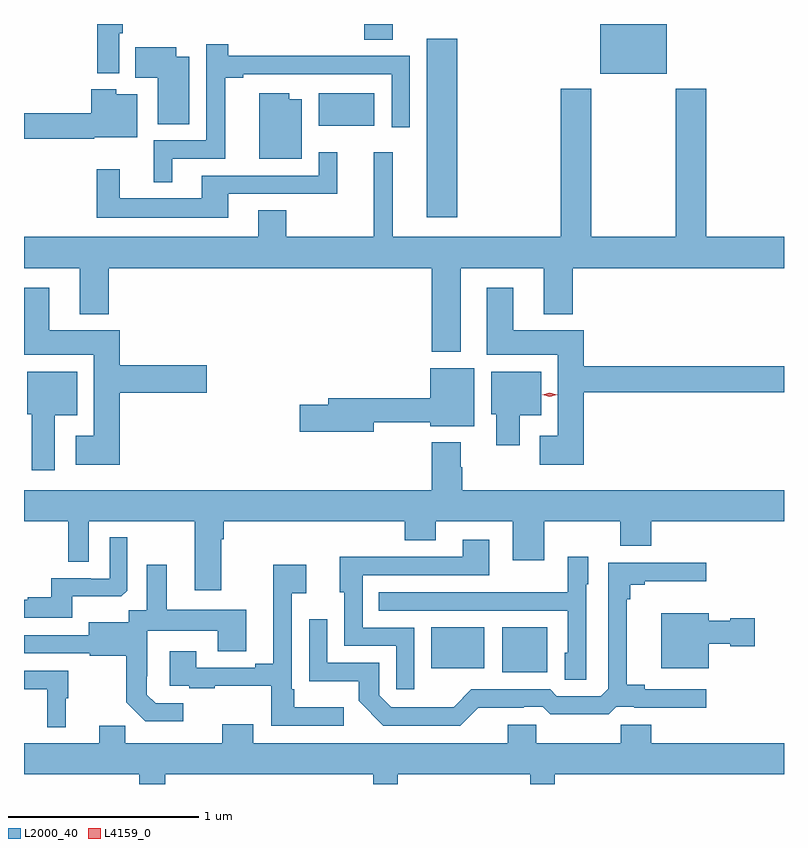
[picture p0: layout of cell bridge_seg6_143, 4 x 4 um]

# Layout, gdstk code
import gdstk
lib = gdstk.Library(unit=1e-6, precision=1e-09)
def R(c, l, rs):  # rectangles x0, y0, x1, y1
    for r in rs: c.add(gdstk.rectangle(r[:2], r[2:], *l))
def P(c, l, *ps):  # polygons
    for p in ps: c.add(gdstk.Polygon(p, *l))
L2000_40 = (2000, 40)
L4159_0 = (4159, 0)

bridge_seg6_143 = lib.new_cell('bridge_seg6_143')
R(bridge_seg6_143, L2000_40, [(530.258,989.165,530.497,989.401), (529.886,989.186,530.164,989.401), (529.862,991.56,530.021,992.5), (529.292,992.042,529.585,992.212), (530.774,992.315,531.124,992.577), (529.532,992.494,529.684,992.577)])
P(bridge_seg6_143, L2000_40, [(528.243,992.528),(528.263,992.528),(528.263,992.577),(528.127,992.577),(528.127,992.318),(528.243,992.318)],
  [(528.523,991.869),(528.8,991.869),(528.8,992.293),(528.895,992.293),(528.895,992.313),(529.677,992.313),(529.677,992.034),(529.773,992.034),(529.773,992.409),(529.448,992.409),(529.448,992.411),(528.818,992.411),(528.818,992.47),(528.702,992.47),(528.702,991.965),(528.425,991.965),(528.425,991.745),(528.523,991.745)],
  [(528.613,992.404),(528.544,992.404),(528.544,992.455),(528.328,992.455),(528.328,992.294),(528.446,992.294),(528.446,992.05),(528.613,992.05)],
  [(530.041,991.292),(530.477,991.292),(530.477,991.049),(530.63,991.049),(530.63,991.292),(531.742,991.292),(531.742,991.456),(531.332,991.456),(531.332,992.236),(531.172,992.236),(531.172,991.456),(530.727,991.456),(530.727,992.236),(530.567,992.236),(530.567,991.456),(529.682,991.456),(529.682,991.903),(529.583,991.903),(529.583,991.456),(529.122,991.456),(529.122,991.598),(528.974,991.598),(528.974,991.456),(527.742,991.456),(527.742,991.292),(528.035,991.292),(528.035,991.049),(528.188,991.049),(528.188,991.292),(529.889,991.292),(529.889,990.851),(530.041,990.851)],
  [(528.111,991.982),(528.337,991.982),(528.337,992.206),(528.228,992.206),(528.228,992.233),(528.095,992.233),(528.095,992.108),(527.742,992.108),(527.742,991.972),(528.111,991.972)],
  [(529.204,992.182),(529.138,992.182),(529.138,992.212),(528.98,992.212),(528.98,991.868),(529.204,991.868)],
  [(528.817,991.683),(529.391,991.683),(529.391,991.903),(529.293,991.903),(529.293,991.779),(528.677,991.779),(528.677,991.66),(528.247,991.66),(528.247,991.813),(528.126,991.813),(528.126,991.556),(528.817,991.556)],
  [(530.687,990.64),(531.742,990.64),(531.742,990.776),(530.687,990.776),(530.687,990.964),(530.317,990.964),(530.317,991.189),(530.177,991.189),(530.177,990.836),(530.552,990.836),(530.552,990.409),(530.457,990.409),(530.457,990.257),(530.687,990.257)],
  [(528.245,990.635),(528.703,990.635),(528.703,990.782),(528.245,990.782),(528.245,990.964),(527.875,990.964),(527.875,991.189),(527.742,991.189),(527.742,990.836),(528.11,990.836),(528.11,990.409),(528.015,990.409),(528.015,990.257),(528.245,990.257)],
  [(529.582,990.48),(529.88,990.48),(529.88,990.461),(530.113,990.461),(530.113,990.766),(529.88,990.766),(529.88,990.608),(529.343,990.608),(529.343,990.572),(529.194,990.572),(529.194,990.43),(529.582,990.43)],
  [(527.905,990.518),(528.022,990.518),(528.022,990.748),(527.759,990.748),(527.759,990.522),(527.783,990.522),(527.783,990.228),(527.905,990.228)],
  [(530.35,990.518),(530.464,990.518),(530.464,990.748),(530.201,990.748),(530.201,990.522),(530.228,990.522),(530.228,990.36),(530.35,990.36)],
  [(528.781,989.864),(528.794,989.864),(528.794,989.96),(529.745,989.96),(529.745,989.861),(529.909,989.861),(529.909,989.96),(530.315,989.96),(530.315,989.754),(530.479,989.754),(530.479,989.96),(530.879,989.96),(530.879,989.832),(531.043,989.832),(531.043,989.96),(531.742,989.96),(531.742,990.124),(530.049,990.124),(530.049,990.245),(530.041,990.245),(530.041,990.376),(529.889,990.376),(529.889,990.124),(527.742,990.124),(527.742,989.96),(527.976,989.96),(527.976,989.746),(528.084,989.746),(528.084,989.96),(528.641,989.96),(528.641,989.598),(528.781,989.598)],
  [(527.995,989.564),(528.253,989.564),(528.285,989.595),(528.285,989.875),(528.192,989.875),(528.192,989.658),(528.092,989.658),(528.092,989.661),(527.885,989.661),(527.885,989.56),(527.761,989.56),(527.761,989.548),(527.742,989.548),(527.742,989.451),(527.995,989.451)],
  [(529.797,989.4),(529.524,989.4),(529.524,989.676),(530.191,989.676),(530.191,989.863),(530.051,989.863),(530.051,989.772),(529.621,989.772),(529.621,989.774),(529.403,989.774),(529.403,989.586),(529.428,989.586),(529.428,989.304),(529.701,989.304),(529.701,989.076),(529.797,989.076)],
  [(530.7,989.628),(530.713,989.628),(530.713,989.773),(530.604,989.773),(530.604,989.587),(530.287,989.587),(530.287,989.586),(529.609,989.586),(529.609,989.49),(530.604,989.49),(530.604,989.268),(530.588,989.268),(530.588,989.125),(530.7,989.125)],
  [(530.132,988.979),(530.372,988.979),(530.372,988.983),(530.472,988.983),(530.512,988.944),(530.819,988.944),(530.859,988.983),(530.953,988.983),(530.953,988.979),(531.334,988.979),(531.334,989.076),(531.01,989.076),(531.01,989.099),(530.915,989.099),(530.915,989.549),(530.933,989.549),(530.933,989.626),(531.01,989.626),(531.01,989.645),(531.334,989.645),(531.334,989.742),(530.817,989.742),(530.817,989.079),(530.778,989.04),(530.547,989.04),(530.511,989.076),(530.097,989.076),(530.003,988.982),(529.898,988.982),(529.898,988.98),(529.674,988.98),(529.611,989.043),(529.611,989.214),(529.338,989.214),(529.338,989.443),(529.242,989.443),(529.242,989.117),(529.504,989.117),(529.504,989.015),(529.634,988.884),(530.037,988.884)],
  [(529.426,988.981),(529.165,988.981),(529.165,989.077),(529.152,989.077),(529.152,989.582),(529.228,989.582),(529.228,989.731),(529.055,989.731),(529.055,989.209),(528.959,989.209),(528.959,989.19),(528.649,989.19),(528.649,989.275),(528.509,989.275),(528.509,989.094),(528.613,989.094),(528.613,989.082),(528.745,989.082),(528.745,989.093),(529.044,989.093),(529.044,988.884),(529.426,988.884)],
  [(528.58,989.001),(528.435,989.001),(528.388,989.048),(528.388,989.143),(528.39,989.143),(528.39,989.384),(528.761,989.384),(528.761,989.275),(528.913,989.275),(528.913,989.494),(528.493,989.494),(528.493,989.731),(528.389,989.731),(528.389,989.492),(528.294,989.492),(528.294,989.428),(528.083,989.428),(528.083,989.361),(527.742,989.361),(527.742,989.265),(528.087,989.265),(528.087,989.253),(528.279,989.253),(528.279,989.007),(528.379,988.907),(528.58,988.907)],
  [(531.346,989.315),(531.459,989.315),(531.459,989.303),(531.589,989.303),(531.589,989.45),(531.459,989.45),(531.459,989.437),(531.346,989.437),(531.346,989.476),(531.095,989.476),(531.095,989.186),(531.346,989.186)],
  [(527.962,989.028),(527.974,989.028),(527.974,989.172),(527.742,989.172),(527.742,989.076),(527.864,989.076),(527.864,988.877),(527.962,988.877)],
  [(528.485,988.628),(529.581,988.628),(529.581,988.577),(529.709,988.577),(529.709,988.628),(530.407,988.628),(530.407,988.577),(530.536,988.577),(530.536,988.628),(531.742,988.628),(531.742,988.792),(531.044,988.792),(531.044,988.89),(530.884,988.89),(530.884,988.792),(530.439,988.792),(530.439,988.89),(530.288,988.89),(530.288,988.792),(528.949,988.792),(528.949,988.891),(528.785,988.891),(528.785,988.792),(528.275,988.792),(528.275,988.883),(528.137,988.883),(528.137,988.792),(527.742,988.792),(527.742,988.628),(528.349,988.628),(528.349,988.577),(528.485,988.577)])
P(bridge_seg6_143, L4159_0, [(530.509,990.616),(530.469,990.626),(530.469,990.626),(530.469,990.626),(530.509,990.636),(530.548,990.626),(530.549,990.626),(530.548,990.626)])

lib.write_gds('bridge_seg6_143.gds')
